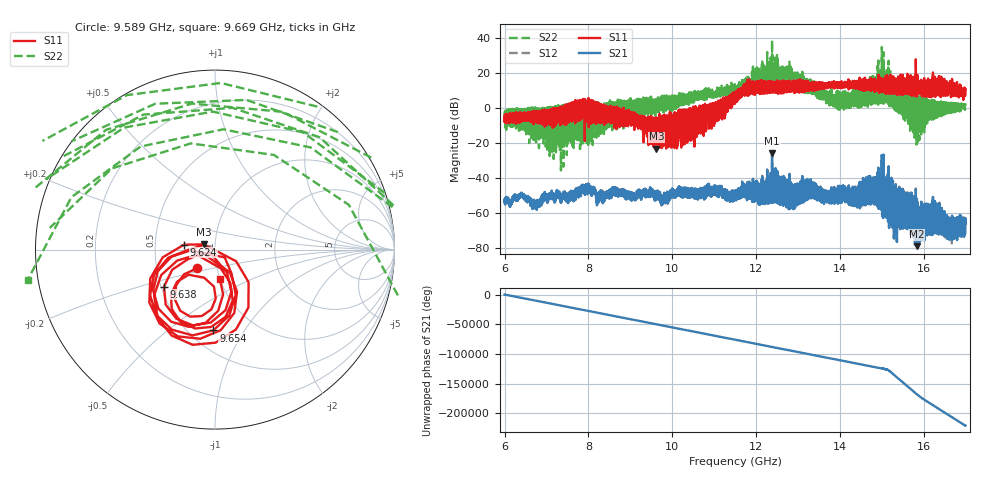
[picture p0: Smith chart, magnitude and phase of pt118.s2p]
#  HZ  S  RI  R  50.00
! Rohde & Schwarz Vector Network Analyzer
! Rohde-Schwarz,ZNA67-2Port,1332450062101215,3.01
! Created: UTC 10/19/2026, 3:39:28 PM
! freq[Hz]  re:S11  im:S11  re:S21  im:S21  re:S12  im:S12  re:S22  im:S22
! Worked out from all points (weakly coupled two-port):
!   11001 points, 6 GHz to 17 GHz, reference 50 ohm
!   highest |S21| = -25.92 dB at 12.38 GHz (marker M1); lowest = -79.2 dB at 15.83 GHz (marker M2)
!   lowest |S11| = -23.3 dB at 9.623 GHz (marker M3), VSWR 1.15, Z = 44.1 + j2.56 ohm
!   |S11| at or under -10 dB: 9.384903 GHz to 9.389974 GHz (5.072 MHz wide, 0.054 % of centre); 9.397261 GHz to 9.402111 GHz (4.85 MHz wide, 0.0516 % of centre); 9.585884 GHz to 9.591381 GHz (5.497 MHz wide, 0.0573 % of centre) (the widest 3 of 154)
!   |S22| runs from -35.8 to 38.8 dB; largest |S21 - S12| = 0.0032
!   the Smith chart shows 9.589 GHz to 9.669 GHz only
!   S11 on the Smith chart (normalised r, x): 9.589 GHz: 0.80, -0.17; 9.624 GHz: 0.70, +0.04; 9.638 GHz: 0.52, -0.24; 9.654 GHz: 0.65, -0.74; 9.669 GHz: 1.00, -0.33
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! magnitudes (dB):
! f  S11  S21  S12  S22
! 6 GHz  -5.0  -53.5  -53.4  -2.0
! 6.405 GHz  -3.2  -49.3  -49.3  -0.6
! 6.738 GHz  -6.2  -56.1  -55.9  -14.9
! 7.834 GHz  -5.5  -47.4  -47.2  -9.7
! 8.237 GHz  2.8  -49.1  -49.2  1.5
! 9.589 GHz  -16.8  -50.5  -50.5  3.8
! 9.623 GHz  -23.3  -48.7  -49.0  3.5
! 9.624 GHz  -15.1  -48.3  -48.5  4.9
! 9.638 GHz  -9.1  -48.2  -48.4  5.0
! 9.654 GHz  -6.9  -51.0  -51.3  -0.6
! 9.667 GHz  -9.3  -51.1  -51.2  -3.0
! 9.669 GHz  -15.7  -50.2  -50.4  0.5
! 10.98 GHz  2.7  -47.0  -47.3  9.2
! 11.5 GHz  4.0  -51.6  -51.7  9.2
! 12.38 GHz  9.8  -25.9  -25.9  38.8
! 12.88 GHz  15.8  -48.6  -48.3  16.1
! 13.33 GHz  11.3  -48.8  -48.7  9.4
! 13.99 GHz  12.7  -49.7  -49.8  1.3
! 14.78 GHz  11.5  -53.7  -53.9  3.1
! 15.17 GHz  10.7  -60.4  -60.2  3.9
! 15.83 GHz  10.5  -79.2  -78.8  -20.9
! 17 GHz  10.7  -66.4  -66.4  1.5
